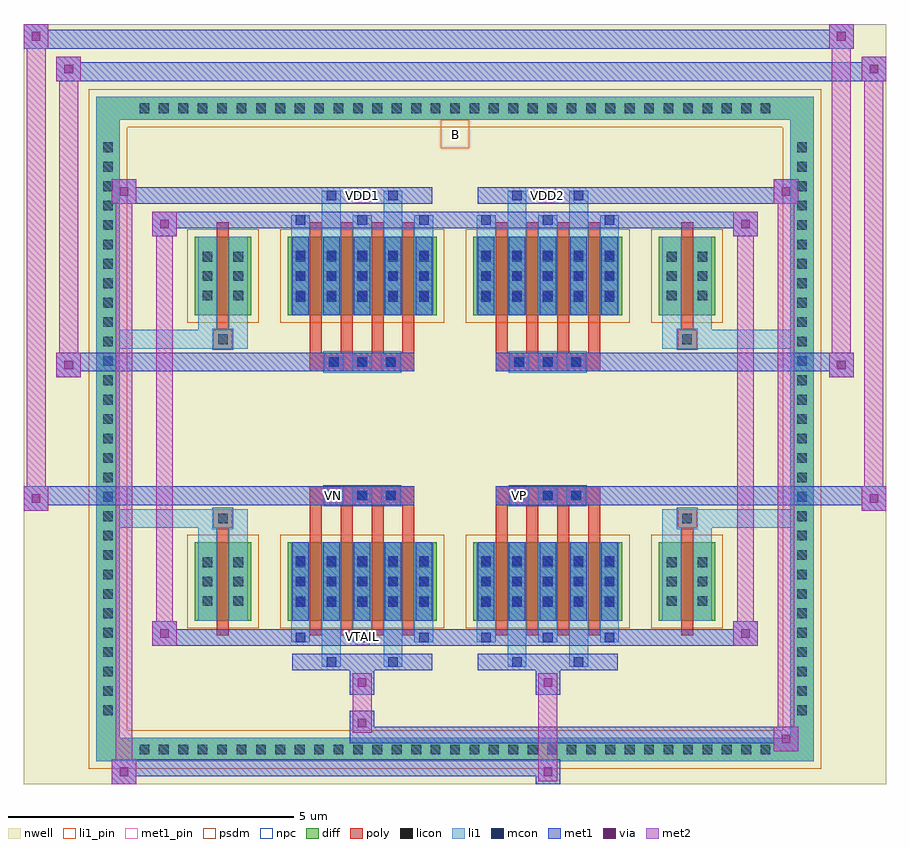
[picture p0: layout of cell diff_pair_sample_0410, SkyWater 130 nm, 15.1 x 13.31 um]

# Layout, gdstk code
import gdstk
lib = gdstk.Library(unit=1e-6, precision=5e-09)
def R(c, l, rs):  # rectangles x0, y0, x1, y1
    for r in rs: c.add(gdstk.rectangle(r[:2], r[2:], *l))
def A(c, l, x, y, w, h, nx, ny, dx, dy):  # array of equal rectangles
    R(c, l, [(x+i*dx, y+j*dy, x+i*dx+w, y+j*dy+h) for i in range(nx) for j in range(ny)])
def P(c, l, *ps):  # polygons
    for p in ps: c.add(gdstk.Polygon(p, *l))
nwell = (64, 20)
diff = (65, 20)
poly = (66, 20)
licon = (66, 44)
li1_pin = (67, 16)
li1 = (67, 20)
mcon = (67, 44)
met1_pin = (68, 16)
met1 = (68, 20)
via = (68, 44)
met2 = (69, 20)
psdm = (94, 20)
npc = (95, 20)

diff_pair_sample_0410 = lib.new_cell('diff_pair_sample_0410')
R(diff_pair_sample_0410, nwell, [(-7.55,-6.22,7.55,7.09), (-4.87,-4.41,-0.01,-0.805), (0.01,-4.41,4.87,-0.805), (-4.87,0.805,-0.01,4.41), (0.01,0.805,4.87,4.41)])
A(diff_pair_sample_0410, diff, -5.645, -5.82, 0.41, 0.41, 33, 2, 0.34, 11.23)
A(diff_pair_sample_0410, diff, -6.28, -5.135, 0.41, 0.41, 1, 30, 0, 0.34)
A(diff_pair_sample_0410, diff, 5.87, -5.135, 0.41, 0.41, 1, 30, 0, 0.34)
R(diff_pair_sample_0410, diff, [(-5.645,-5.82,5.645,-5.41), (-6.28,-5.135,-5.87,5.135), (5.87,-5.135,6.28,5.135), (-4.56,-3.365,-3.57,-1.985), (-2.93,-3.365,-0.32,-1.985), (0.32,-3.365,2.93,-1.985), (3.57,-3.365,4.56,-1.985), (-4.56,1.985,-3.57,3.365), (-2.93,1.985,-0.32,3.365), (0.32,1.985,2.93,3.365), (3.57,1.985,4.56,3.365), (-5.645,5.41,5.645,5.82)])
P(diff_pair_sample_0410, diff, [(6.28,5.82),(-6.28,5.82),(-6.28,-5.41),(-5.87,-5.41),(-5.87,5.41),(5.87,5.41),(5.87,-5.41),(-5.87,-5.41),(-6.28,-5.41),(-6.28,-5.82),(6.28,-5.82)])
A(diff_pair_sample_0410, poly, -2.54, -3.615, 0.21, 1.88, 4, 2, 0.54, 5.35)
A(diff_pair_sample_0410, poly, 0.71, -3.615, 0.21, 1.88, 4, 2, 0.54, 5.35)
A(diff_pair_sample_0410, poly, -2.54, -1.735, 0.21, 0.4, 4, 2, 0.54, 3.07)
A(diff_pair_sample_0410, poly, 0.71, -1.735, 0.21, 0.4, 4, 2, 0.54, 3.07)
A(diff_pair_sample_0410, poly, -2.29, -1.335, 0.33, 0.33, 3, 2, 0.5, 2.34)
A(diff_pair_sample_0410, poly, 0.96, -1.335, 0.33, 0.33, 3, 2, 0.5, 2.34)
R(diff_pair_sample_0410, poly, [(-4.17,-3.615,-3.96,-1.735), (3.96,-3.615,4.17,-1.735), (-4.23,-1.735,-3.9,-1.405), (-4.23,-1.735,-3.9,-1.405), (3.9,-1.735,4.23,-1.405), (3.9,-1.735,4.23,-1.405), (-2.54,-1.335,-0.71,-1.005), (0.71,-1.335,2.54,-1.005), (-2.54,1.005,-0.71,1.335), (0.71,1.005,2.54,1.335), (-4.23,1.405,-3.9,1.735), (-4.23,1.405,-3.9,1.735), (3.9,1.405,4.23,1.735), (3.9,1.405,4.23,1.735), (-4.17,1.735,-3.96,3.615), (3.96,1.735,4.17,3.615)])
A(diff_pair_sample_0410, licon, -5.525, -5.7, 0.17, 0.17, 33, 2, 0.34, 11.23)
A(diff_pair_sample_0410, licon, -6.16, -5.015, 0.17, 0.17, 1, 30, 0, 0.34)
A(diff_pair_sample_0410, licon, 5.99, -5.015, 0.17, 0.17, 1, 30, 0, 0.34)
A(diff_pair_sample_0410, licon, -4.42, -3.1, 0.17, 0.17, 1, 3, 0, 0.34)
A(diff_pair_sample_0410, licon, -3.88, -3.1, 0.17, 0.17, 1, 3, 0, 0.34)
A(diff_pair_sample_0410, licon, -2.79, -3.1, 0.17, 0.17, 5, 3, 0.54, 0.34)
A(diff_pair_sample_0410, licon, 0.46, -3.1, 0.17, 0.17, 5, 3, 0.54, 0.34)
A(diff_pair_sample_0410, licon, 3.71, -3.1, 0.17, 0.17, 1, 3, 0, 0.34)
A(diff_pair_sample_0410, licon, 4.25, -3.1, 0.17, 0.17, 1, 3, 0, 0.34)
A(diff_pair_sample_0410, licon, -2.21, -1.255, 0.17, 0.17, 3, 2, 0.5, 2.34)
A(diff_pair_sample_0410, licon, 1.04, -1.255, 0.17, 0.17, 3, 2, 0.5, 2.34)
A(diff_pair_sample_0410, licon, -4.42, 2.25, 0.17, 0.17, 1, 3, 0, 0.34)
A(diff_pair_sample_0410, licon, -3.88, 2.25, 0.17, 0.17, 1, 3, 0, 0.34)
A(diff_pair_sample_0410, licon, -2.79, 2.25, 0.17, 0.17, 5, 3, 0.54, 0.34)
A(diff_pair_sample_0410, licon, 0.46, 2.25, 0.17, 0.17, 5, 3, 0.54, 0.34)
A(diff_pair_sample_0410, licon, 3.71, 2.25, 0.17, 0.17, 1, 3, 0, 0.34)
A(diff_pair_sample_0410, licon, 4.25, 2.25, 0.17, 0.17, 1, 3, 0, 0.34)
R(diff_pair_sample_0410, licon, [(-4.15,-1.655,-3.98,-1.485), (3.98,-1.655,4.15,-1.485), (-4.15,1.485,-3.98,1.655), (3.98,1.485,4.15,1.655)])
R(diff_pair_sample_0410, li1_pin, [(-0.25,4.91,0.25,5.41)])
A(diff_pair_sample_0410, li1, -5.605, -5.78, 0.33, 0.33, 33, 2, 0.34, 11.23)
A(diff_pair_sample_0410, li1, -6.24, -5.095, 0.33, 0.33, 1, 30, 0, 0.34)
A(diff_pair_sample_0410, li1, 5.91, -5.095, 0.33, 0.33, 1, 30, 0, 0.34)
A(diff_pair_sample_0410, li1, -2.87, -3.74, 0.33, 0.375, 3, 2, 1.08, 7.105)
A(diff_pair_sample_0410, li1, -2.79, -3.74, 0.17, 0.17, 3, 2, 1.08, 7.31)
A(diff_pair_sample_0410, li1, 0.38, -3.74, 0.33, 0.375, 3, 2, 1.08, 7.105)
A(diff_pair_sample_0410, li1, 0.46, -3.74, 0.17, 0.17, 3, 2, 1.08, 7.31)
A(diff_pair_sample_0410, li1, -2.87, -3.365, 0.33, 1.38, 5, 2, 0.54, 5.35)
A(diff_pair_sample_0410, li1, 0.38, -3.365, 0.33, 1.38, 5, 2, 0.54, 5.35)
A(diff_pair_sample_0410, li1, -4.5, -3.18, 0.33, 0.33, 1, 3, 0, 0.34)
A(diff_pair_sample_0410, li1, -3.96, -3.18, 0.33, 0.33, 1, 3, 0, 0.34)
A(diff_pair_sample_0410, li1, -2.87, -3.18, 0.33, 0.33, 5, 3, 0.54, 0.34)
A(diff_pair_sample_0410, li1, 0.38, -3.18, 0.33, 0.33, 5, 3, 0.54, 0.34)
A(diff_pair_sample_0410, li1, 3.63, -3.18, 0.33, 0.33, 1, 3, 0, 0.34)
A(diff_pair_sample_0410, li1, 4.17, -3.18, 0.33, 0.33, 1, 3, 0, 0.34)
A(diff_pair_sample_0410, li1, -2.79, -3.12, 0.17, 0.17, 5, 3, 0.54, 0.36)
A(diff_pair_sample_0410, li1, -2.79, -3.12, 0.17, 0.89, 5, 2, 0.54, 5.35)
A(diff_pair_sample_0410, li1, 0.46, -3.12, 0.17, 0.17, 5, 3, 0.54, 0.36)
A(diff_pair_sample_0410, li1, 0.46, -3.12, 0.17, 0.89, 5, 2, 0.54, 5.35)
A(diff_pair_sample_0410, li1, -2.29, -1.335, 0.33, 0.33, 3, 2, 0.5, 2.34)
A(diff_pair_sample_0410, li1, 0.96, -1.335, 0.33, 0.33, 3, 2, 0.5, 2.34)
A(diff_pair_sample_0410, li1, -4.5, 2.17, 0.33, 0.33, 1, 3, 0, 0.34)
A(diff_pair_sample_0410, li1, -3.96, 2.17, 0.33, 0.33, 1, 3, 0, 0.34)
A(diff_pair_sample_0410, li1, -2.87, 2.17, 0.33, 0.33, 5, 3, 0.54, 0.34)
A(diff_pair_sample_0410, li1, 0.38, 2.17, 0.33, 0.33, 5, 3, 0.54, 0.34)
A(diff_pair_sample_0410, li1, 3.63, 2.17, 0.33, 0.33, 1, 3, 0, 0.34)
A(diff_pair_sample_0410, li1, 4.17, 2.17, 0.33, 0.33, 1, 3, 0, 0.34)
A(diff_pair_sample_0410, li1, -2.79, 2.23, 0.17, 0.17, 5, 3, 0.54, 0.36)
A(diff_pair_sample_0410, li1, 0.46, 2.23, 0.17, 0.17, 5, 3, 0.54, 0.36)
R(diff_pair_sample_0410, li1, [(-6.28,-5.82,-5.87,-5.41), (-6.28,-5.82,-5.87,-5.41), (-5.87,-5.82,5.87,-5.41), (5.87,-5.82,6.28,-5.41), (5.87,-5.82,6.28,-5.41), (-6.28,-5.41,-5.87,5.41), (5.87,-5.41,6.28,5.41), (-2.33,-4.17,-2,-3.365), (-2.25,-4.17,-2.08,-4), (-1.25,-4.17,-0.92,-3.365), (-1.17,-4.17,-1,-4), (0.92,-4.17,1.25,-3.365), (1,-4.17,1.17,-4), (2,-4.17,2.33,-3.365), (2.08,-4.17,2.25,-4), (-4.5,-3.365,-4.17,-1.985), (-3.96,-3.365,-3.63,-1.985), (3.63,-3.365,3.96,-1.985), (4.17,-3.365,4.5,-1.985), (-4.5,-1.985,-4.17,-1.405), (-3.96,-1.985,-3.63,-1.405), (3.63,-1.985,3.96,-1.405), (4.17,-1.985,4.5,-1.405), (-6.28,-1.735,-4.23,-1.405), (-4.5,-1.735,-4.23,-1.405), (-4.23,-1.735,-3.9,-1.405), (-3.9,-1.735,-3.63,-1.405), (3.63,-1.735,3.9,-1.405), (3.9,-1.735,4.23,-1.405), (3.9,-1.735,6.28,-1.405), (4.23,-1.735,4.5,-1.405), (-6.28,1.405,-4.23,1.735), (-4.5,1.405,-4.23,1.735), (-4.5,1.405,-4.17,1.985), (-4.23,1.405,-3.9,1.735), (-3.96,1.405,-3.63,1.985), (-3.9,1.405,-3.63,1.735), (3.63,1.405,3.9,1.735), (3.63,1.405,3.96,1.985), (3.9,1.405,4.23,1.735), (3.9,1.405,6.28,1.735), (4.17,1.405,4.5,1.985), (4.23,1.405,4.5,1.735), (-4.5,1.985,-4.17,3.365), (-3.96,1.985,-3.63,3.365), (3.63,1.985,3.96,3.365), (4.17,1.985,4.5,3.365), (-2.33,3.365,-2,4.17), (-1.25,3.365,-0.92,4.17), (0.92,3.365,1.25,4.17), (2,3.365,2.33,4.17), (-2.25,4,-2.08,4.17), (-1.17,4,-1,4.17), (1,4,1.17,4.17), (2.08,4,2.25,4.17), (-6.28,5.41,-5.87,5.82), (-6.28,5.41,-5.87,5.82), (-5.87,5.41,5.87,5.82), (5.87,5.41,6.28,5.82), (5.87,5.41,6.28,5.82)])
A(diff_pair_sample_0410, mcon, -2.79, -3.74, 0.17, 0.17, 3, 2, 1.08, 7.31)
A(diff_pair_sample_0410, mcon, 0.46, -3.74, 0.17, 0.17, 3, 2, 1.08, 7.31)
A(diff_pair_sample_0410, mcon, -2.79, -3.12, 0.17, 0.17, 5, 3, 0.54, 0.36)
A(diff_pair_sample_0410, mcon, 0.46, -3.12, 0.17, 0.17, 5, 3, 0.54, 0.36)
A(diff_pair_sample_0410, mcon, -2.21, -1.255, 0.17, 0.17, 3, 2, 0.5, 2.34)
A(diff_pair_sample_0410, mcon, 1.04, -1.255, 0.17, 0.17, 3, 2, 0.5, 2.34)
A(diff_pair_sample_0410, mcon, -2.79, 2.23, 0.17, 0.17, 5, 3, 0.54, 0.36)
A(diff_pair_sample_0410, mcon, 0.46, 2.23, 0.17, 0.17, 5, 3, 0.54, 0.36)
R(diff_pair_sample_0410, mcon, [(-2.25,-4.17,-2.08,-4), (-1.17,-4.17,-1,-4), (1,-4.17,1.17,-4), (2.08,-4.17,2.25,-4), (-2.25,4,-2.08,4.17), (-1.17,4,-1,4.17), (1,4,1.17,4.17), (2.08,4,2.25,4.17)])
R(diff_pair_sample_0410, met1_pin, [(-1.76,-3.78,-1.49,-3.51), (-2.26,-1.295,-1.99,-1.025), (0.99,-1.295,1.26,-1.025), (-1.76,3.96,-1.49,4.23), (1.49,3.96,1.76,4.23)])
A(diff_pair_sample_0410, met1, -2.85, -3.8, 0.29, 0.29, 3, 2, 1.08, 7.31)
A(diff_pair_sample_0410, met1, 0.4, -3.8, 0.29, 0.29, 3, 2, 1.08, 7.31)
A(diff_pair_sample_0410, met1, -2.85, -3.365, 0.29, 1.38, 5, 2, 0.54, 5.35)
A(diff_pair_sample_0410, met1, 0.4, -3.365, 0.29, 1.38, 5, 2, 0.54, 5.35)
A(diff_pair_sample_0410, met1, -2.85, -3.18, 0.29, 0.29, 5, 3, 0.54, 0.36)
A(diff_pair_sample_0410, met1, 0.4, -3.18, 0.29, 0.29, 5, 3, 0.54, 0.36)
A(diff_pair_sample_0410, met1, -2.27, -1.315, 0.29, 0.29, 3, 2, 0.5, 2.34)
A(diff_pair_sample_0410, met1, 0.98, -1.315, 0.29, 0.29, 3, 2, 0.5, 2.34)
A(diff_pair_sample_0410, met1, -2.85, 2.17, 0.29, 0.29, 5, 3, 0.54, 0.36)
A(diff_pair_sample_0410, met1, 0.4, 2.17, 0.29, 0.29, 5, 3, 0.54, 0.36)
R(diff_pair_sample_0410, met1, [(-6.01,-6.22,-5.58,-5.79), (1.41,-6.22,1.84,-5.79), (-6.01,-6.08,1.84,-5.79), (5.58,-5.65,6.01,-5.22), (-1.84,-5.51,6.01,-5.22), (-1.84,-5.37,-1.41,-4.94), (-1.84,-4.66,-1.41,-4.23), (1.41,-4.66,1.84,-4.23), (-2.85,-4.23,-0.4,-3.94), (-2.31,-4.23,-2.02,-3.94), (-1.23,-4.23,-0.94,-3.94), (0.4,-4.23,2.85,-3.94), (0.94,-4.23,1.23,-3.94), (2.02,-4.23,2.31,-3.94), (-5.3,-3.8,-2.85,-3.51), (-5.3,-3.8,-4.87,-3.37), (-2.85,-3.8,-0.4,-3.51), (-0.4,-3.8,0.4,-3.51), (0.4,-3.8,2.85,-3.51), (2.85,-3.8,5.3,-3.51), (4.87,-3.8,5.3,-3.37), (-7.55,-1.435,-7.12,-1.005), (7.12,-1.435,7.55,-1.005), (-7.55,-1.335,-0.71,-1.005), (-2.54,-1.335,-0.71,-1.005), (0.71,-1.335,2.54,-1.005), (0.71,-1.335,7.55,-1.005), (-6.98,0.905,-6.55,1.335), (6.55,0.905,6.98,1.335), (-6.98,1.005,-2.54,1.335), (-2.54,1.005,-0.71,1.335), (0.71,1.005,2.54,1.335), (2.54,1.005,6.98,1.335), (-5.3,3.37,-4.87,3.8), (4.87,3.37,5.3,3.8), (-5.3,3.51,-2.85,3.8), (-2.85,3.51,-0.4,3.8), (-0.4,3.51,0.4,3.8), (0.4,3.51,2.85,3.8), (2.85,3.51,5.3,3.8), (-6.01,3.94,-5.58,4.37), (-6.01,3.94,-2.85,4.23), (-2.85,3.94,-0.4,4.23), (-2.31,3.94,-2.02,4.23), (-1.23,3.94,-0.94,4.23), (0.4,3.94,2.85,4.23), (0.94,3.94,1.23,4.23), (2.02,3.94,2.31,4.23), (2.85,3.94,6.01,4.23), (5.58,3.94,6.01,4.37), (-6.98,6.09,-6.55,6.52), (-6.98,6.09,-4.87,6.42), (-4.87,6.09,4.87,6.42), (4.87,6.09,7.55,6.42), (7.12,6.09,7.55,6.52), (-7.55,6.66,-7.12,7.09), (-7.55,6.66,-4.87,6.99), (-4.87,6.66,4.87,6.99), (4.87,6.66,6.98,6.99), (6.55,6.66,6.98,7.09)])
R(diff_pair_sample_0410, via, [(-5.87,-6.08,-5.72,-5.93), (1.55,-6.08,1.7,-5.93), (5.72,-5.51,5.87,-5.36), (-1.7,-5.23,-1.55,-5.08), (-1.7,-4.52,-1.55,-4.37), (1.55,-4.52,1.7,-4.37), (-5.16,-3.66,-5.01,-3.51), (5.01,-3.66,5.16,-3.51), (-7.41,-1.295,-7.26,-1.145), (7.26,-1.295,7.41,-1.145), (-6.84,1.045,-6.69,1.195), (6.69,1.045,6.84,1.195), (-5.16,3.51,-5.01,3.66), (5.01,3.51,5.16,3.66), (-5.87,4.08,-5.72,4.23), (5.72,4.08,5.87,4.23), (-6.84,6.23,-6.69,6.38), (7.26,6.23,7.41,6.38), (-7.41,6.8,-7.26,6.95), (6.69,6.8,6.84,6.95)])
R(diff_pair_sample_0410, met2, [(-6.01,-6.22,-5.58,-5.79), (-5.94,-6.22,-5.65,4.37), (-5.65,-6.22,-5.58,-5.79), (-5.96,-6.17,-5.63,-5.84), (1.46,-6.17,1.79,-5.84), (1.46,-5.84,1.79,-4.61), (5.58,-5.65,6.01,-5.22), (5.65,-5.65,5.94,4.37), (5.94,-5.65,6.01,-5.22), (5.63,-5.6,5.96,-5.27), (-1.79,-5.32,-1.46,-4.99), (-1.79,-4.99,-1.46,-4.61), (-1.79,-4.61,-1.46,-4.28), (1.46,-4.61,1.79,-4.28), (-5.3,-3.8,-4.87,-3.37), (-5.23,-3.8,-4.94,3.8), (-4.94,-3.8,-4.87,-3.37), (4.87,-3.8,5.3,-3.37), (4.94,-3.8,5.23,3.8), (5.23,-3.8,5.3,-3.37), (-5.25,-3.75,-4.92,-3.42), (4.92,-3.75,5.25,-3.42), (-7.55,-1.435,-7.12,-1.005), (-7.5,-1.435,-7.17,7.09), (-7.17,-1.435,-7.12,-1.005), (7.12,-1.435,7.55,-1.005), (7.17,-1.435,7.5,6.52), (7.5,-1.435,7.55,-1.005), (-7.5,-1.385,-7.17,-1.055), (7.17,-1.385,7.5,-1.055), (-6.98,0.905,-6.55,1.335), (-6.93,0.905,-6.6,6.52), (-6.6,0.905,-6.55,1.335), (6.55,0.905,6.98,1.335), (6.6,0.905,6.93,7.09), (6.93,0.905,6.98,1.335), (-6.93,0.955,-6.6,1.285), (6.6,0.955,6.93,1.285), (-5.3,3.37,-4.87,3.8), (-4.94,3.37,-4.87,3.8), (4.87,3.37,5.3,3.8), (5.23,3.37,5.3,3.8), (-5.25,3.42,-4.92,3.75), (4.92,3.42,5.25,3.75), (-6.01,3.94,-5.58,4.37), (-5.65,3.94,-5.58,4.37), (5.58,3.94,6.01,4.37), (5.94,3.94,6.01,4.37), (-5.96,3.99,-5.63,4.32), (5.63,3.99,5.96,4.32), (-6.98,6.09,-6.55,6.52), (-6.6,6.09,-6.55,6.52), (7.12,6.09,7.55,6.52), (7.5,6.09,7.55,6.52), (-6.93,6.14,-6.6,6.47), (7.17,6.14,7.5,6.47), (-7.55,6.66,-7.12,7.09), (-7.17,6.66,-7.12,7.09), (6.55,6.66,6.98,7.09), (6.93,6.66,6.98,7.09), (-7.5,6.71,-7.17,7.04), (6.6,6.71,6.93,7.04)])
R(diff_pair_sample_0410, psdm, [(-4.69,-3.495,-3.44,-1.855), (-3.06,-3.495,-0.19,-1.855), (0.19,-3.495,3.06,-1.855), (3.44,-3.495,4.69,-1.855), (-4.69,1.855,-3.44,3.495), (-3.06,1.855,-0.19,3.495), (0.19,1.855,3.06,3.495), (3.44,1.855,4.69,3.495)])
P(diff_pair_sample_0410, psdm, [(6.41,5.95),(-6.41,5.95),(-6.41,-5.28),(-5.74,-5.28),(-5.74,5.28),(5.74,5.28),(5.74,-5.28),(-5.74,-5.28),(-6.41,-5.28),(-6.41,-5.95),(6.41,-5.95)])
A(diff_pair_sample_0410, npc, -2.31, -1.355, 0.37, 0.37, 3, 2, 0.5, 2.34)
A(diff_pair_sample_0410, npc, 0.94, -1.355, 0.37, 0.37, 3, 2, 0.5, 2.34)
R(diff_pair_sample_0410, npc, [(-4.25,-1.755,-3.88,-1.385), (3.88,-1.755,4.25,-1.385), (-2.31,-1.355,-1.44,-0.985), (-2.31,-1.355,-1.44,-0.985), (-1.81,-1.355,-0.94,-0.985), (-1.81,-1.355,-0.94,-0.985), (0.94,-1.355,1.81,-0.985), (0.94,-1.355,1.81,-0.985), (1.44,-1.355,2.31,-0.985), (1.44,-1.355,2.31,-0.985), (-2.31,0.985,-1.44,1.355), (-2.31,0.985,-1.44,1.355), (-1.81,0.985,-0.94,1.355), (-1.81,0.985,-0.94,1.355), (0.94,0.985,1.81,1.355), (0.94,0.985,1.81,1.355), (1.44,0.985,2.31,1.355), (1.44,0.985,2.31,1.355), (-4.25,1.385,-3.88,1.755), (3.88,1.385,4.25,1.755)])
diff_pair_sample_0410.add(gdstk.Label('VTAIL', (-1.625,-3.645), layer=68, texttype=5))
diff_pair_sample_0410.add(gdstk.Label('VN', (-2.125,-1.16), layer=68, texttype=5))
diff_pair_sample_0410.add(gdstk.Label('VP', (1.125,-1.16), layer=68, texttype=5))
diff_pair_sample_0410.add(gdstk.Label('B', (0,5.16), layer=67, texttype=5))
diff_pair_sample_0410.add(gdstk.Label('VDD2', (1.625,4.095), layer=68, texttype=5))
diff_pair_sample_0410.add(gdstk.Label('VDD1', (-1.625,4.095), layer=68, texttype=5))

lib.write_gds('diff_pair_sample_0410.gds')
